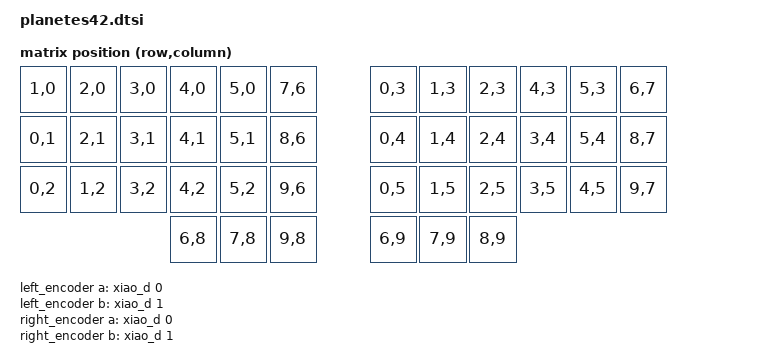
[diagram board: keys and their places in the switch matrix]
#define ZMK_MOUSE_SCRL_VAL 140

#include <dt-bindings/zmk/matrix_transform.h>
#include <dt-bindings/zmk/input_transform.h>
#include <input/processors.dtsi>
#include <dt-bindings/zmk/pointing.h>

/ {
    chosen {
        zmk,kscan = &kscan0;
        zmk,matrix-transform = &default_transform;
        //zmk,physical-layout = &physical_layout0;
    };
  
    default_transform: keymap_transform_0 {
        compatible = "zmk,matrix-transform";
        columns = <10>;
        rows = <10>;
// | SW1 | SW4 | SW7 | SW10 | SW13 | SW16 |                 | SW22 | SW25 | SW29 | SW33 | SW36 | SW40 |
// | SW2 | SW5 | SW8 | SW11 | SW14 | SW17 |                 | SW23 | SW27 | SW30 | SW34 | SW37 | SW41 |
// | SW3 | SW6 | SW9 | SW12 | SW15 | SW18 |                 | SW24 | SW28 | SW31 | SW35 | SW38 | SW42 |
//                   | SW19 | SW20 | SW21 |                 | SW43 | SW44 | SW45 |
        map = <
          RC(1,0) RC(2,0) RC(3,0) RC(4,0) RC(5,0) RC(7,6)    RC(0,3) RC(1,3) RC(2,3) RC(4,3) RC(5,3) RC(6,7)
          RC(0,1) RC(2,1) RC(3,1) RC(4,1) RC(5,1) RC(8,6)    RC(0,4) RC(1,4) RC(2,4) RC(3,4) RC(5,4) RC(8,7)
          RC(0,2) RC(1,2) RC(3,2) RC(4,2) RC(5,2) RC(9,6)    RC(0,5) RC(1,5) RC(2,5) RC(3,5) RC(4,5) RC(9,7)
                                  RC(6,8) RC(7,8) RC(9,8)    RC(6,9) RC(7,9) RC(8,9)
        >;
    };

    kscan0: kscan_charlyplex {
      compatible = "zmk,kscan-gpio-charlieplex";
      wakeup-source;

      interrupt-gpios = <&xiao_d 2 (GPIO_ACTIVE_HIGH | GPIO_PULL_DOWN)>;
      
      gpios = <&xiao_d 3  (GPIO_ACTIVE_HIGH)>  // 0
            , <&xiao_d 10 (GPIO_ACTIVE_HIGH)>  // 1
            , <&xiao_d 9  (GPIO_ACTIVE_HIGH)>   // 2
            , <&xiao_d 8  (GPIO_ACTIVE_HIGH)>   // 3
            , <&gpio0 9   (GPIO_ACTIVE_HIGH)>  // 4
            , <&gpio0 10  (GPIO_ACTIVE_HIGH)>  // 5
            ;
    };

    // Encoder definitions
    left_encoder: encoder_left {
        compatible = "alps,ec11";
        a-gpios = <&xiao_d 0 (GPIO_ACTIVE_HIGH | GPIO_PULL_UP)>;
        b-gpios = <&xiao_d 1 (GPIO_ACTIVE_HIGH | GPIO_PULL_UP)>;
        steps = <72>;
        status = "disabled";
    };

    right_encoder: encoder_right {
        compatible = "alps,ec11";
        a-gpios = <&xiao_d 0 (GPIO_ACTIVE_HIGH | GPIO_PULL_UP)>;
        b-gpios = <&xiao_d 1 (GPIO_ACTIVE_HIGH | GPIO_PULL_UP)>;
        steps = <72>;
        status = "disabled";
    };

    sensors: sensors {
        compatible = "zmk,keymap-sensors";
        sensors = <&left_encoder &right_encoder>;
        triggers-per-rotation = <20>;
    };

    // auto mouse layer
    /omit-if-no-ref/ zip_temp_layer: zip_temp_layer {
        compatible = "zmk,input-processor-temp-layer";
        #input-processor-cells = <2>;
        excluded-positions = <
            16 // F
            15 // D
            13 // A
            18 // J
            19 // K
            21 // ;
            12 // Ctrl
        >;
    };

    // comment in if you decided to use wireless split
    //wired_split {
    //    compatible = "zmk,wired-split";
    //    device = <&xiao_serial>;
    //};
};

&i2c0 {
    compatible = "nordic,nrf-twim";
    status = "disabled";
};

&qspi {
  status = "disabled";
};

// comment in this node if use wireless spilt
//&xiao_serial {
//  status = "okay";
//};

// enable extra gpios
&uicr {
    nfct-pins-as-gpios;
};
